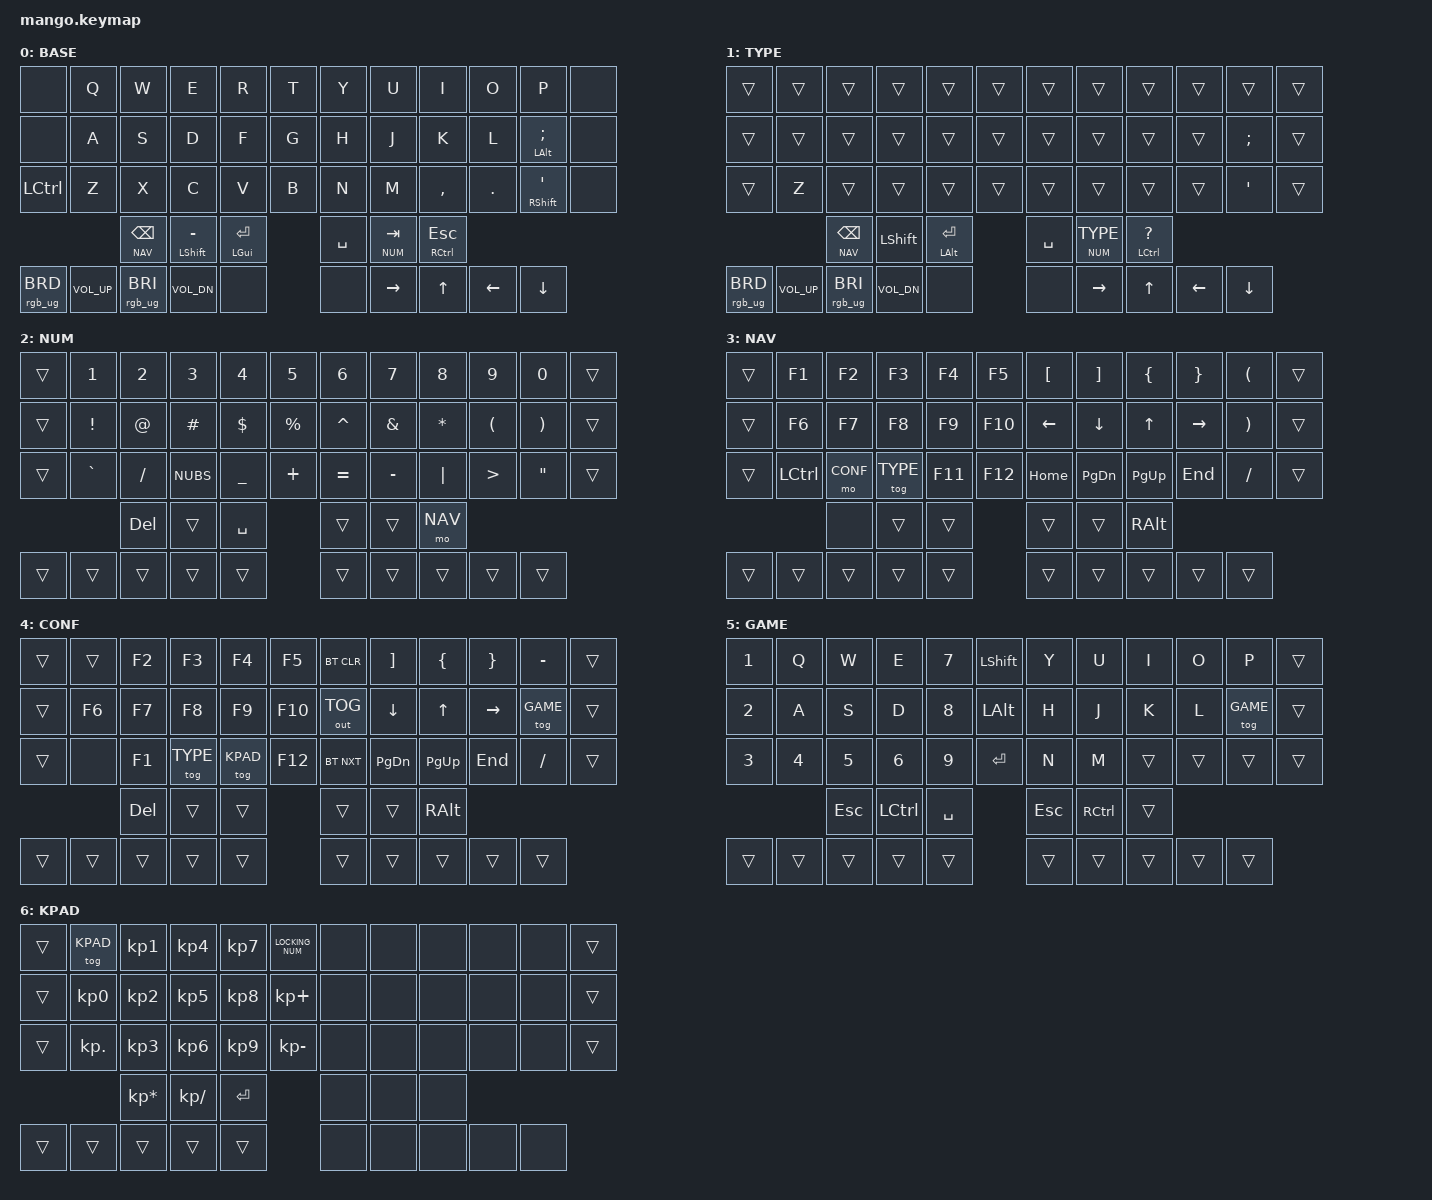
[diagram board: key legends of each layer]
#include <behaviors.dtsi>
#include <dt-bindings/zmk/keys.h>
#include <dt-bindings/zmk/bt.h>
#include <dt-bindings/zmk/outputs.h>
#include <dt-bindings/zmk/rgb.h>
#include <dt-bindings/zmk/ext_power.h>

#define BASE 0
#define TYPE 1
#define NUM  2
#define NAV  3
#define CONF 4
#define GAME 5
#define KPAD 6

/ {
keymap {
    compatible = "zmk,keymap";

/*                                  
*  DEFAULT 
* 
*        ` ~             _____                                               _____
*        |        .-----|  E  |-----._____                       _____.-----|  I  |-----.
*      _____.-----|  W  |_____|  R  |  T  |                     |  Y  |  U  |_____|  O  |-----._____
*     |     |  Q  |-----|  D  |-----|_____|                     |_____|-----|  K  |-----|  P  |     |  
*     |_____|-----|  S  |_____|  F  |  G  |                     |  H  |  J  |_____|  L  |-----|_____|  
*     |     |  A  |-----|  C  |-----|_____|                     |_____|-----| , < |-----|ALT;:|     |  
*     |_____|-----|  X  |_____|  V  |  B  |                     |  N  |  M  |_____| . > |-----|_____|  
*     |LCTRL|  Z  |-----'   .-'---.=|_____|.-.._           _..-.|_____|=.---'-.   '-----|SHF'"|     |
*     !_____!-----'         |BSP/N|- _/S| / ENT /         \     \ |TAB/N|ESC/C|         '-----!_____!
*                           '-----!_____!/LGUI /           \ SPC \!_____!-----' 
*                                       '--.._/             \_..--'
*
*
*                          VUP                                              MUP
*                          __                                                __
*                       __|  |__                                          __|  |__
*                PREV  |_TGPLAY_|  NEXT                           MLEFT  |_MCLK-1_|  MRIGHT
*                         |__|                                              |__|
*                                                                             
*                        VDOWN                                             MDOWN
*/

default_layer {
    label = "BASE";
    bindings = <
        &none      &kp Q       &kp W       &kp E       &kp R       &kp T               &kp Y       &kp U       &kp I       &kp O       &kp P          &none
        &none      &kp A       &kp S       &kp D       &kp F       &kp G               &kp H       &kp J       &kp K       &kp L       &mt LALT SEMI  &none
        &kp LCTRL  &kp Z       &kp X       &kp C       &kp V       &kp B               &kp N       &kp M       &kp COMMA   &kp DOT     &mt RSHIFT SQT &none
                                    &lhkt NAV BSPC &mt LSHFT MINUS &mt LGUI ENTER      &kp SPACE   &lhkt NUM TAB &mt RCTRL ESC

        &rgb_ug RGB_BRD &kp C_VOL_UP &rgb_ug RGB_BRI &kp C_VOL_DN   &none               &none       &kp RIGHT   &kp UP      &kp LEFT    &kp DOWN
    >;
};

/*                                  
*  TYPING LAYER 
*  Exactly the same as the default layer, but without all the layer switching keys, and the ALT.
*  This is meant to allow free typing experience.
*  This layer should be easily swappable, and returning to the default layer should be very easy.
*
*        ` ~             _____                                               _____
*        |        .-----|  E  |-----._____                       _____.-----|  I  |-----.
*      _____.-----|  W  |_____|  R  |  T  |                     |  Y  |  U  |_____|  O  |-----._____
*     |     |  Q  |-----|  D  |-----|_____|                     |_____|-----|  K  |-----|  P  |     |  
*     |_____|-----|  S  |_____|  F  |  G  |                     |  H  |  J  |_____|  L  |-----|_____|  
*     |     |  A  |-----|  C  |-----|_____|                     |_____|-----| , < |-----| ; : |     |  
*     |_____|-----|  X  |_____|  V  |  B  |                     |  N  |  M  |_____| . > |-----|_____|  
*     |     |  Z  |-----'   .-'---.=|_____|.-.._           _..-.|_____|=.---'-.   '-----| ' " |     |
*     !_____!-----'         |SHIFT|BSP/N| /LALT /         \     \ |B/NUM|? CTR|         '-----!_____!
*                           '-----!_____!/ ENT /           \ SPC \!_____!-----' 
*                                       '--.._/             \_..--'
*
*
*                          VUP                                              MUP
*                          __                                                __
*                       __|  |__                                          __|  |__
*                PREV  |_TGPLAY_|  NEXT                           MLEFT  |_MCLK-1_|  MRIGHT
*                         |__|                                              |__|
*                                                                             
*                        VDOWN                                             MDOWN
*/

type_layer {
    label = "TYPE";
    bindings = <
        &trans      &trans      &trans      &trans      &trans      &trans              &trans      &trans      &trans      &trans      &trans      &trans
        &trans      &trans      &trans      &trans      &trans      &trans              &trans      &trans      &trans      &trans      &kp SEMI    &trans
        &trans      &kp Z       &trans      &trans      &trans      &trans              &trans      &trans      &trans      &trans      &kp SQT     &trans
                                         &lhkt NAV BSPC &kp LSHFT   &mt LALT ENTER      &kp SPACE   &ltlh NUM TYPE  &mt LCTRL QMARK

        &rgb_ug RGB_BRD &kp C_VOL_UP &rgb_ug RGB_BRI &kp C_VOL_DN   &none               &none       &kp RIGHT   &kp UP      &kp LEFT    &kp DOWN
    >;
};

/*                                  
*  NUMBERS
*                        _____                                               _____
*                 .-----|  3  |-----._____                       _____.-----|  8  |-----.
*      _____.-----|  2  |_____|  4  |  5  |                     |  6  |  7  |_____|  9  |-----._____
*     |     |  1  |-----|  #  |-----|_____|                     |_____|-----|  *  |-----|  0  |     |  
*     |_____|-----|  @  |_____|  $  |  %  |                     |  ^  |  &  |_____|  (  |-----|_____|  
*     |     |  !  |-----| \ | |-----|_____|                     |_____|-----|  |  |-----|  )  |     |  
*     |_____|-----| / ? |_____|  _  |  +  |                     | = + | - _ |_____|  >  |-----|_____|  
*     |     | ` ~ |-----'   .-'---.=|_____|.-.._           _..-.|_____|=.---'-.   '-----|  "  |     |
*     !_____!-----'         | DEL |SHIFT| /     /         \     \ | NUM | NAV |         '-----!_____!
*                           '-----!_____!/ SPC /           \ SPC \!_____!-----'
*                                       '--.._/             \_..--'
*
*
*                     BRIGHTNESS UP                                         MUP
*                          __                                                __
*                       __|  |__                                          __|  |__
*         PREV EFFECT  |_UDGLOW_|  NEXT EFFECT                    MLEFT  |_MCLK-2_|  MRIGHT
*                         |__|                                              |__|
*                                                                             
*                    BRIGHTNESS DOWN                                       MDOWN
*/

numbers_layer {
    label = "NUM";
    bindings = <
        &trans      &kp N1      &kp N2      &kp N3      &kp N4      &kp N5              &kp N6      &kp N7      &kp N8      &kp N9      &kp N0      &trans
        &trans      &kp EXCL    &kp AT      &kp HASH    &kp DLLR    &kp PRCNT           &kp CARET   &kp AMPS    &kp ASTRK   &kp LPAR    &kp RPAR    &trans      
        &trans      &kp GRAVE   &kp FSLH    &kp NUBS    &kp UNDER   &kp PLUS            &kp EQUAL   &kp MINUS   &kp PIPE    &kp GT      &kp DQT     &trans
                                            &kp DEL     &trans      &kp SPACE           &trans      &trans      &mo NAV      
                                            
                    &trans      &trans      &trans      &trans      &trans              &trans      &trans      &trans      &trans      &trans
    >;
};

/*                                  
*  NAVIGATION
*        ` ~             _____                                               _____
*        |        .-----| F3  |-----._____                       _____.-----|LBRC |-----.
*      _____.-----| F2  |_____| F4  | F5  |                     |LBKT |RBKT |_____|RBRC |-----._____
*     |     | F1  |-----| F8  |-----|_____|                     |_____|-----| UP  |-----|  (  |     |  
*     |_____|-----| F7  |_____| F9  | F10 |                     |LEFT | DOWN|_____|RIGHT|-----|_____|  
*     |     | F6  |-----|TYPE |-----|_____|                     |_____|-----|PG_UP|-----|  )  |     |  
*     |_____|-----| CONF|_____| F11 | F12 |                     | HOME|PG_DN|_____| END |-----|_____|  
*     |     | CTRL|-----'   .-'---.=|_____|.-.._           _..-.|_____|=.---'-.   '-----| / ? |     |
*     !_____!-----'         |     |SHIFT| /     /         \     \ | NUM |RALT |         '-----!_____!
*                           '-----!_____!/ ENT /           \ SPC \!_____!-----'
*                                       '--.._/             \_..--'
*
*
*                     BRIGHTNESS UP                                       SCROLLUP
*                          __                                                __
*                       __|  |__                                          __|  |__
*         PREV EFFECT  |__RGB___|  NEXT EFFECT               SCROLLLEFT  |_MCLK-C_|  SCROLLRIGHT
*                         |__|                                              |__|
*                                                                             
*                    BRIGHTNESS DOWN                                     SCROLLDOWN
*/

navigation_layer {
    label = "NAV";
    bindings = <
        &trans     &kp F1       &kp F2       &kp F3      &kp F4  &kp F5        &kp LBKT &kp RBKT  &kp LBRC  &kp RBRC  &kp LPAR  &trans
        &trans     &kp F6       &kp F7       &kp F8      &kp F9  &kp F10       &kp LEFT &kp DOWN  &kp UP    &kp RIGHT &kp RPAR  &trans
        &trans     &kp LCTRL    &mo  CONF    &tog TYPE   &kp F11 &kp F12       &kp HOME &kp PG_DN &kp PG_UP &kp END   &kp FSLH  &trans
                                             &none       &trans  &trans        &trans   &trans    &kp RALT      
                                        
                    &trans     &trans       &trans      &trans       &trans             &trans      &trans      &trans      &trans      &trans
    >;
};

/*                                  
*  CONFIG
*        ` ~             _____                                               _____
*        |        .-----| F3  |-----._____                       _____.-----|LBRC |-----.
*      _____.-----| F2  |_____| F4  | F5  |                     |BTCLR|RBKT |_____|RBRC |-----._____
*     |     |     |-----| F8  |-----|_____|                     |_____|-----| UP  |-----|MINUS|     |  
*     |_____|-----| F7  |_____| F9  | F10 |                     |BTTOG| DOWN|_____|RIGHT|-----|_____|  
*     |     | F6  |-----|TYPE |-----|_____|                     |_____|-----|PG_UP|-----|GAME |     |  
*     |_____|-----| F1  |_____|KPAD | F12 |                     |BTNXT|PG_DN|_____| END |-----|_____|  
*     |     |     |-----'   .-'---.=|_____|.-.._           _..-.|_____|=.---'-.   '-----| / ? |     |
*     !_____!-----'         | DEL |SHIFT| /     /         \     \ | NUM |RALT |         '-----!_____!
*                           '-----!_____!/ ENT /           \ SPC \!_____!-----'
*                                       '--.._/             \_..--'
*
*
*                     BRIGHTNESS UP                                       SCROLLUP
*                          __                                                __
*                       __|  |__                                          __|  |__
*         PREV EFFECT  |__RGB___|  NEXT EFFECT               SCROLLLEFT  |_MCLK-C_|  SCROLLRIGHT
*                         |__|                                              |__|
*                                                                             
*                    BRIGHTNESS DOWN                                     SCROLLDOWN
*/

config_layer {
    label = "CONF";
    bindings = <
      &trans   &trans      &kp F2       &kp F3      &kp F4       &kp F5      &bt BT_CLR &kp RBKT  &kp LBRC  &kp RBRC  &kp MINUS &trans
      &trans   &kp F6      &kp F7       &kp F8      &kp F9       &kp F10   &out OUT_TOG &kp DOWN  &kp UP    &kp RIGHT &tog GAME &trans
      &trans   &none       &kp F1       &tog TYPE   &tog KPAD    &kp F12     &bt BT_NXT &kp PG_DN &kp PG_UP &kp END   &kp FSLH  &trans
                                        &kp DEL     &trans       &trans       &trans      &trans      &kp RALT      
                                        
                    &trans     &trans       &trans      &trans       &trans             &trans      &trans      &trans      &trans      &trans
    >;
};

/* 
*  GAME
*  This just swaps space and enter, and the esc with the backspace. An additional enter is added to the left side.
*
*        ` ~             _____                                               _____
*        |        .-----|  E  |-----._____                       _____.-----|  I  |-----.
*      _____.-----|  W  |_____|  R  |  T  |                     |  Y  |  U  |_____|  O  |-----._____
*     |     |  Q  |-----|  D  |-----|_____|                     |_____|-----|  K  |-----|  P  |     |  
*     |_____|-----|  S  |_____|  F  |  G  |                     |  H  |  J  |_____|  L  |-----|_____|  
*     |     |  A  |-----|  C  |-----|_____|                     |_____|-----| , < |-----| BASE|     |  
*     |_____|-----|  X  |_____|  V  |ENTER|                     |  N  |  M  |_____| . > |-----|_____|  
*     |     |  Z  |-----'   .-'---.=|_____|.-.._           _..-.|_____|=.---'-.   '-----| ' " |     |
*     !_____!-----'         |BSP/N|SHIFT| /     /         \     \ | DEF.|? CTR|         '-----!_____!
*                           '-----!_____!/ SPC /           \ SPC \!_____!-----' 
*                                       '--.._/             \_..--'
*
*
*                          VUP                                              MUP
*                          __                                                __
*                       __|  |__                                          __|  |__
*                PREV  |_TGPLAY_|  NEXT                           MLEFT  |_MCLK-1_|  MRIGHT
*                         |__|                                              |__|
*                                                                             
*                        VDOWN                                             MDOWN
*/

game_layer {
    label = "GAME";
    bindings = <
        &kp N1      &kp Q       &kp W       &kp E       &kp N7      &kp LSHFT           &kp Y      &kp U       &kp I       &kp O       &kp P       &trans
        &kp N2      &kp A       &kp S       &kp D       &kp N8      &kp LALT            &kp H      &kp J       &kp K       &kp L       &tog GAME   &trans
        &kp N3      &kp N4      &kp N5      &kp N6      &kp N9      &kp ENTER           &kp N      &kp M       &trans      &trans      &trans      &trans
                                            &kp ESC     &kp LCTRL   &kp SPACE           &kp ESC    &kp RCTRL   &trans

                    &trans      &trans      &trans      &trans      &trans              &trans      &trans      &trans      &trans      &trans
    >;
};

/* 
*  KEYPAD
*  Meant as a way to use the left keyboard as a support keypad 
*
*        ` ~             _____                                               _____
*        |        .-----|  4  |-----._____                       _____.-----|     |-----.
*      _____.-----|  1  |_____|  7  | N_LK|                     |     |     |_____|     |-----._____
*     |     | TOG |-----|  5  |-----|_____|                     |_____|-----|     |-----|     |     |  
*     |_____|-----|  2  |_____|  8  |  +  |                     |     |     |_____|     |-----|_____|  
*     |     |  0  |-----|  6  |-----|_____|                     |_____|-----|     |-----|     |     |  
*     |_____|-----|  3  |_____|  9  |  -  |                     |     |     |_____|     |-----|_____|  
*     |     |  .  |-----'   .-'---.=|_____|.-.._           _..-.|_____|=.---'-.   '-----|     |     |
*     !_____!-----'         |  *  | /   | /     /         \     \ |     |     |         '-----!_____!
*                           '-----!_____!/ ENT /           \     \!_____!-----' 
*                                       '--.._/             \_..--'
*
*
*                          VUP                                              
*                          __                                                __
*                       __|  |__                                          __|  |__
*                PREV  |_TGPLAY_|  NEXT                                  |__    __|  
*                         |__|                                              |__|
*                                                                             
*                        VDOWN
*/

keypad_layer {
    label = "KPAD";
    bindings = <
        &trans      &tog KPAD   &kp KP_N1   &kp KP_N4   &kp KP_N7   &kp LOCKING_NUM     &none      &none       &none       &none       &none     &trans
        &trans      &kp KP_N0   &kp KP_N2   &kp KP_N5   &kp KP_N8   &kp KP_PLUS         &none      &none       &none       &none       &none     &trans
        &trans      &kp KP_DOT  &kp KP_N3   &kp KP_N6   &kp KP_N9   &kp KP_MINUS        &none      &none       &none       &none       &none     &trans
                                 &kp KP_MULTIPLY     &kp KP_SLASH   &kp ENTER           &none      &none       &none

                    &trans      &trans      &trans      &trans      &trans              &none      &none       &none       &none       &none
    >;
};

};
};

/ {
combos {
    compatible = "zmk,combos";

/* 
*  COMBOS
*                                               _____________________         _____________________
*                                            __|__                   |       |                   __|__ 
*          _______________          _____   |     |                  v       v                  |     |   _____          _______________
*         |               |  .-----|  3  |-----._____                                         _____.-----|  8  |-----.  |               |
*         v       _____.-----|  2  |_____|  4  |  5  |               (       )               |  6  |  7  |_____|  9  |-----._____       v
*             __ |  0  |  1  |-----| 15  |-----|_____| --.__  +                     -  __.-- |_____|-----| 20  |-----| 10  | 11  | __
*     ESC  --|__ |_____|-----| 14  |_____| 16  | 17  | --'           [       ]           '-- | 18  | 19  |_____| 21  |-----|_____| __|--  "
*             __ | 12  | 13  |-----| 27  |-----|_____| --.__  *                     =  __.-- |_____|-----| 32  |-----| 22  | 23  | __ 
*     TAB  --|__ |_____|-----| 26  |_____| 28  | 29  | --'           {       }           '-- | 30  | 31  |_____| 33  |-----|_____| __|--  '
*                | 24  | 25  |-----'   .-'---.=|_____|.-.._                             _..-.|_____|=.---'-.   '-----| 34  | 35  | 
*                !_____!-----'         | 36  | 37  | /     /                           \     \ | 40  | 41  |         '-----!_____!
*                                      '-----!_____!/ 38  /                             \ 39  \!_____!-----'          
*                                                  '--.._/                               \_..--'  |_____|
*                                                                                                    |
*                                                                                                   DEL       
*/

// ESC
    combo_esc {
        timeout-ms = <20>;
        key-positions = <1 13>;
        bindings = <&kp ESC>;
    };

// TAB
    combo_tab {
        timeout-ms = <20>;
        key-positions = <13 25>;
        bindings = <&kp TAB>;
    };

// '
    combo_sqt {
        timeout-ms = <20>;
        key-positions = <22 34>;
        bindings = <&kp SQT>;
    };

// "
    combo_dqt {
        timeout-ms = <20>;
        key-positions = <10 22>;
        bindings = <&kp DQT>;
    };

// ()
    combo_lpar {
        timeout-ms = <20>;
        key-positions = <4 5>;
        bindings = <&kp LPAR>;
    };

    combo_rpar {
        timeout-ms = <20>;
        key-positions = <6 7>;
        bindings = <&kp RPAR>;
    };

// []
    combo_lbkt {
        timeout-ms = <20>;
        key-positions = <16 17>;
        bindings = <&kp LBKT>;
    };

    combo_rbkt {
        timeout-ms = <20>;
        key-positions = <18 19>;
        bindings = <&kp RBKT>;
    };

// {}
    combo_lbrc {
        timeout-ms = <20>;
        key-positions = <28 29>;
        bindings = <&kp LBRC>;
    };

    combo_rbrc {
        timeout-ms = <20>;
        key-positions = <30 31>;
        bindings = <&kp RBRC>;
    };

// DEL
    combo_del {
        timeout-ms = <20>;
        key-positions = <40 41>;
        bindings = <&kp DEL>;
    };

// +
    combo_plus {
        timeout-ms = <20>;
        key-positions = <5 17>;
        bindings = <&kp PLUS>;
    };

// *
    combo_astrk {
        timeout-ms = <20>;
        key-positions = <17 29>;
        bindings = <&kp ASTRK>;
    };

// -
    combo_minus {
        timeout-ms = <20>;
        key-positions = <6 18>;
        bindings = <&kp MINUS>;
    };

// =
    combo_equal {
        timeout-ms = <20>;
        key-positions = <18 30>;
        bindings = <&kp EQUAL>;
    };

};
};

/ {
macros {

// Screenshot
    SCRSHT: scrsht {
        label = "Screenshot";
        compatible = "zmk,behavior-macro";
        #binding-cells = <0>;
        bindings
            = <&macro_press &kp LGUI>
            , <&macro_press &kp LSHFT>
            , <&macro_tap &kp S>
            , <&macro_release &kp LSHFT>
            , <&macro_release &kp LGUI>
            ;
    };
};
};

/ {
behaviors {

    lhkt: layer_hold_key_tap {
        compatible = "zmk,behavior-hold-tap";
        label = "LAYER_HOLD_KEY_TAP";
        #binding-cells = <2>;
        tapping-term-ms = <200>;    // <---[[moderate duration]]
        quick-tap-ms = <0>;
        flavor = "hold-preferred";
        bindings = <&mo>, <&kp>;
    };

    ltlh: layer_toggle_layer_hold {
        compatible = "zmk,behavior-hold-tap";
        label = "LAYER_TOGGLE_KEY_TAP";
        #binding-cells = <2>;
        tapping-term-ms = <200>;    // <---[[moderate duration]]
        quick-tap-ms = <0>;
        flavor = "hold-preferred";
        bindings = <&mo>, <&tog>;
    };

};
};
